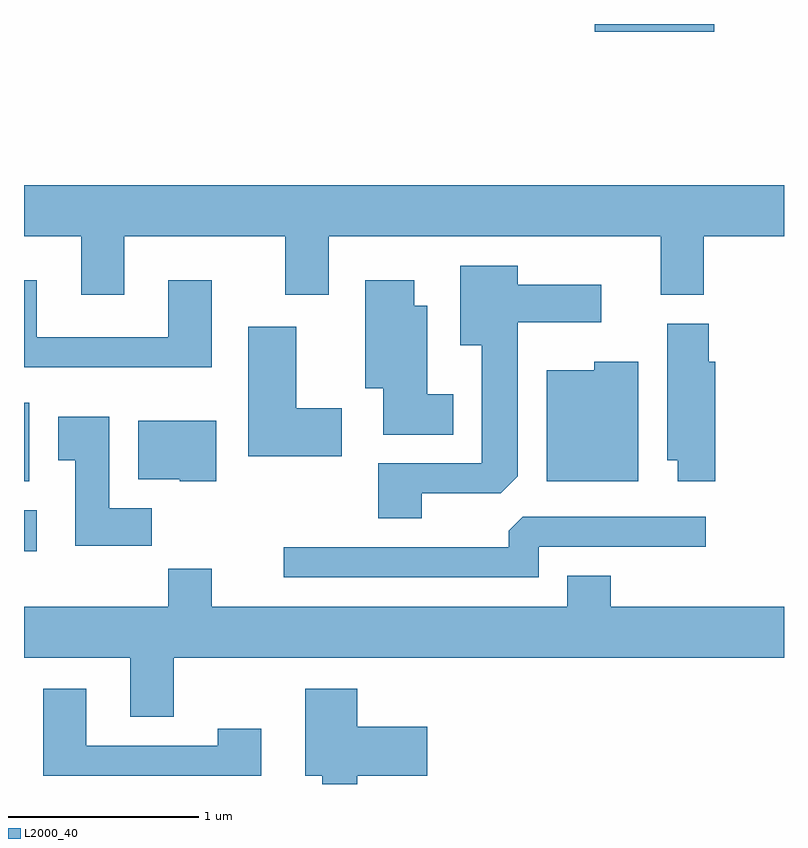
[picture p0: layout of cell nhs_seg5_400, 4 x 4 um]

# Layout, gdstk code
import gdstk
lib = gdstk.Library(unit=1e-6, precision=1e-09)
def R(c, l, rs):  # rectangles x0, y0, x1, y1
    for r in rs: c.add(gdstk.rectangle(r[:2], r[2:], *l))
def P(c, l, *ps):  # polygons
    for p in ps: c.add(gdstk.Polygon(p, *l))
L2000_40 = (2000, 40)

nhs_seg5_400 = lib.new_cell('nhs_seg5_400')
R(nhs_seg5_400, L2000_40, [(195.611,1517.296,195.679,1517.514), (195.611,1517.666,195.639,1518.079), (198.616,1520.031,199.244,1520.072)])
P(nhs_seg5_400, L2000_40, [(196.139,1518.956),(196.986,1518.956),(196.986,1518.646),(197.214,1518.646),(197.214,1518.956),(198.961,1518.956),(198.961,1518.646),(199.189,1518.646),(199.189,1518.956),(199.611,1518.956),(199.611,1519.224),(195.611,1519.224),(195.611,1518.956),(195.911,1518.956),(195.911,1518.646),(196.139,1518.646)],
  [(197.704,1517.601),(198.119,1517.601),(198.209,1517.692),(198.209,1518.501),(198.649,1518.501),(198.649,1518.699),(198.209,1518.699),(198.209,1518.799),(197.906,1518.799),(197.906,1518.381),(198.021,1518.381),(198.021,1517.759),(197.476,1517.759),(197.476,1517.471),(197.704,1517.471)],
  [(197.869,1518.124),(197.734,1518.124),(197.734,1518.589),(197.664,1518.589),(197.664,1518.724),(197.406,1518.724),(197.406,1518.156),(197.501,1518.156),(197.501,1517.911),(197.869,1517.911)],
  [(196.599,1518.724),(196.371,1518.724),(196.371,1518.424),(195.679,1518.424),(195.679,1518.724),(195.611,1518.724),(195.611,1518.266),(196.599,1518.266)],
  [(199.249,1518.294),(199.214,1518.294),(199.214,1518.494),(198.996,1518.494),(198.996,1517.776),(199.051,1517.776),(199.051,1517.666),(199.249,1517.666)],
  [(197.284,1518.049),(197.044,1518.049),(197.044,1518.479),(196.791,1518.479),(196.791,1517.796),(197.284,1517.796)],
  [(198.844,1518.294),(198.611,1518.294),(198.611,1518.249),(198.361,1518.249),(198.361,1517.666),(198.844,1517.666)],
  [(196.284,1517.524),(196.059,1517.524),(196.059,1518.004),(195.791,1518.004),(195.791,1517.776),(195.881,1517.776),(195.881,1517.326),(196.284,1517.326)],
  [(196.624,1517.984),(196.211,1517.984),(196.211,1517.676),(196.43,1517.676),(196.43,1517.666),(196.624,1517.666)],
  [(198.319,1517.321),(199.198,1517.321),(199.198,1517.479),(198.237,1517.479),(198.161,1517.404),(198.161,1517.319),(196.978,1517.319),(196.978,1517.161),(198.319,1517.161)],
  [(196.399,1516.736),(199.611,1516.736),(199.611,1517.004),(198.699,1517.004),(198.699,1517.169),(198.471,1517.169),(198.471,1517.004),(196.599,1517.004),(196.599,1517.204),(196.371,1517.204),(196.371,1517.004),(195.611,1517.004),(195.611,1516.736),(196.171,1516.736),(196.171,1516.426),(196.399,1516.426)],
  [(196.859,1516.364),(196.631,1516.364),(196.631,1516.274),(195.939,1516.274),(195.939,1516.574),(195.711,1516.574),(195.711,1516.116),(196.859,1516.116)],
  [(197.364,1516.116),(197.734,1516.116),(197.734,1516.374),(197.364,1516.374),(197.364,1516.574),(197.091,1516.574),(197.091,1516.116),(197.181,1516.116),(197.181,1516.072),(197.364,1516.072)])

lib.write_gds('nhs_seg5_400.gds')
